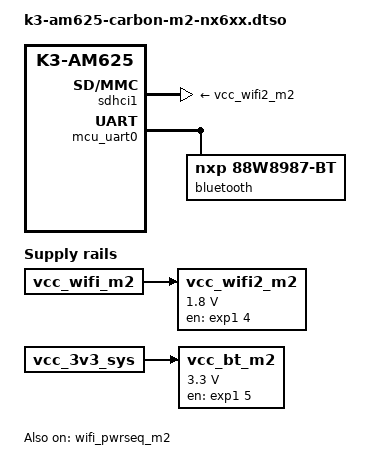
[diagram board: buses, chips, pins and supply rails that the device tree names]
// SPDX-License-Identifier: GPL-2.0
/*
 * M.2 SDIO NX6xx module
 * Copyright (C) 2024 Ezurio LLC
 */

#include "k3-am625-carbon-m2.dtsi"

&{/} {
	vcc_wifi2_m2: regulator-wifi2-m2 {
		compatible = "regulator-fixed";
		regulator-name = "vcc_wifi2_m2";
		regulator-min-microvolt = <1800000>;
		regulator-max-microvolt = <1800000>;

		vin-supply = <&vcc_wifi_m2>;

		gpios = <&exp1 4 GPIO_ACTIVE_HIGH>;  /* M2_WDISABLE1# */
		enable-active-high;
		regulator-always-on;
	};

	vcc_bt_m2: regulator-bt-m2 {
		compatible = "regulator-fixed";
		regulator-name = "vcc_bt_m2";
		regulator-min-microvolt = <3300000>;
		regulator-max-microvolt = <3300000>;

		vin-supply = <&vcc_3v3_sys>;

		gpios = <&exp1 5 GPIO_ACTIVE_HIGH>;  /* M2_WDISABLE2# */
		enable-active-high;
		regulator-always-on;
	};
};

&wifi_pwrseq_m2 {
	reset-gpios = <&exp1 10 GPIO_ACTIVE_LOW>;   /* M2_SDIO_RESET# */
	status = "okay";
};

&sdhci1 { /* SDIO_A uSD / M.2_SDIO */
	vmmc-supply = <&vcc_wifi2_m2>;
};

&mcu_uart0 {
	bluetooth {
		compatible = "nxp,88w8987-bt";
		fw-init-baudrate = <3000000>;
	};
};
